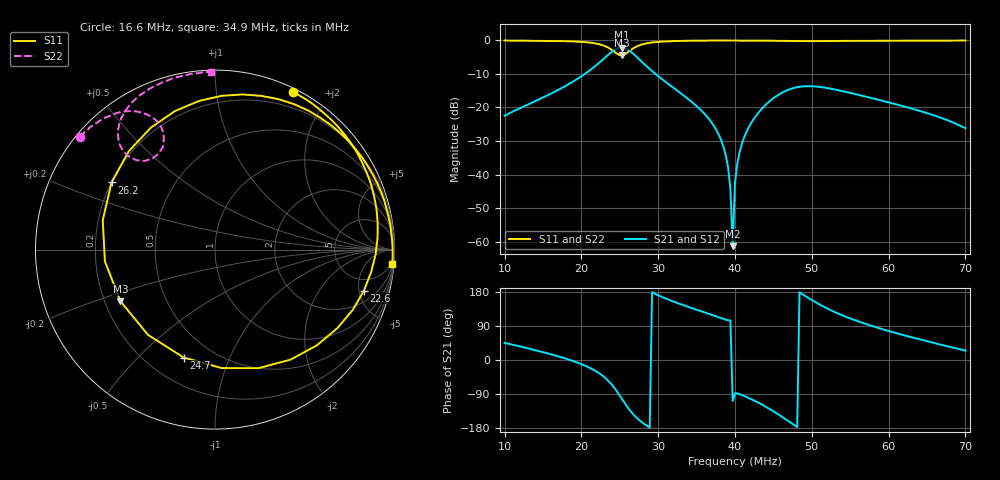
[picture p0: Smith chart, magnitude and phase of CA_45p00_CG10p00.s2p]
#  HZ  S  RI  R  50.00
! Rohde & Schwarz ZVT8 8Ports - Version 4.11 - 1300.0000k08 SN: 100242
! Date: 2026-07-31 15:03:56
! Measurements: S11 S21 S12 S22
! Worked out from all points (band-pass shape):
!   201 points, 10 MHz to 70 MHz, reference 50 ohm
!   highest |S21| = -2.14 dB at 25.3 MHz (marker M1); lowest = -61.3 dB at 39.7 MHz (marker M2)
!   |S21| within 3 dB of the highest: 23.07 MHz to 27.3 MHz (4.224 MHz wide, 16.8 % of centre)
!   lowest |S11| = -4.4 dB at 25.3 MHz (marker M3), VSWR 4.00, Z = 13.3 - j11.9 ohm
!   |S11| at or under -10 dB: nowhere
!   |S22| runs from -4.2 to 0.0 dB; largest |S21 - S12| = 0.0024
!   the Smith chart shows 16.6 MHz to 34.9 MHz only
!   S11 on the Smith chart (normalised r, x): 16.6 MHz: 0.04, +1.61; 22.6 MHz: 3.20, -5.64; 24.7 MHz: 0.35, -0.69; 26.2 MHz: 0.20, +0.29; 34.9 MHz: 3, -24
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1e7  -0.3965 0.9134  0.0534 0.0536  0.0531 0.0536  -0.9192 0.3841
1.66e7  0.4341 0.8784  0.1703 0.0352  0.1698 0.0346  -0.7535 0.6288
2.02e7  0.8445 0.4299  0.2953 -0.0662  0.2942 -0.0656  -0.5892 0.7439
2.26e7  0.83 -0.2282  0.3844 -0.3116  0.386 -0.3123  -0.4063 0.7622
2.38e7  0.4208 -0.6132  0.3141 -0.5723  0.3148 -0.5726  -0.3031 0.6879
2.47e7  -0.1747 -0.6013  0.0666 -0.7584  0.068 -0.7565  -0.2914 0.5697
2.53e7  -0.5266 -0.2883  -0.1787 -0.7608  -0.1783 -0.7596  -0.3495 0.5065
2.62e7  -0.5764 0.3743  -0.4553 -0.5461  -0.4542 -0.5456  -0.4729 0.5137
2.77e7  0.0359 0.8566  -0.4745 -0.1587  -0.4747 -0.1594  -0.5386 0.6743
3.01e7  0.6964 0.6513  -0.2821 0.0514  -0.2817 0.0508  -0.4196 0.8592
3.49e7  0.988 -0.0815  -0.0735 0.0783  -0.0735 0.0779  -0.0228 0.9894
3.88e7  0.8238 -0.5621  -0.00541 0.0185  -0.00538 0.0183  0.4197 0.9039
3.94e7  0.7789 -0.6213  -0.00152 0.00593  -0.00149 0.00572  0.4965 0.8634
3.97e7  0.7568 -0.6508  -0.000268 -0.000813  -0.000239 -0.00083  0.5344 0.8387
4e7  0.7317 -0.6781  0.000294 -0.00756  0.000492 -0.00754  0.5766 0.8121
4.15e7  0.5972 -0.7982  -0.00583 -0.0431  -0.00564 -0.0428  0.7713 0.626
4.51e7  0.215 -0.965  -0.1022 -0.0966  -0.1017 -0.0964  0.948 -0.2594
4.78e7  -0.0793 -0.9754  -0.1957 -0.0247  -0.1954 -0.0244  0.3146 -0.921
5.02e7  -0.3257 -0.9208  -0.1886 0.0849  -0.189 0.0849  -0.4715 -0.8499
5.38e7  -0.6543 -0.7308  -0.0868 0.1542  -0.0865 0.1542  -0.9624 -0.1766
6.01e7  -0.9783 -0.1427  0.0286 0.1149  0.0284 0.1146  -0.7961 0.5862
7e7  -0.564 0.8204  0.0446 0.0205  0.0446 0.0204  -0.2481 0.9639
